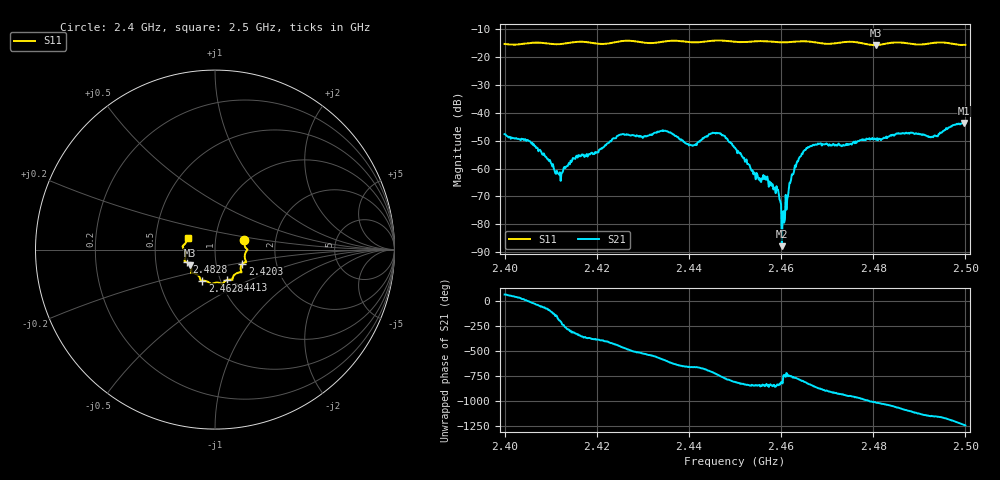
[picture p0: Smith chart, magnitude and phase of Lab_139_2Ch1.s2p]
# Hz S RI R 50
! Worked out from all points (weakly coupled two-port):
!   601 points, 2.4 GHz to 2.5 GHz, reference 50 ohm
!   highest |S21| = -43.67 dB at 2.4997 GHz (marker M1); lowest = -87.8 dB at 2.4602 GHz (marker M2)
!   lowest |S11| = -15.7 dB at 2.4805 GHz (marker M3), VSWR 1.39, Z = 37.4 - j6.67 ohm
!   |S11| at or under -10 dB: start of sweep to end of sweep
!   S12 and S22 are empty: the file has one direction only
!   S11 on the Smith chart (normalised r, x): 2.4 GHz: 1.38, +0.15; 2.4203 GHz: 1.34, -0.22; 2.4413 GHz: 1.08, -0.38; 2.4628 GHz: 0.82, -0.29; 2.4828 GHz: 0.72, -0.10; 2.5 GHz: 0.73, +0.10
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2.4e9  0.1625 0.0525  0.00189 0.00367  0 0  0 0
2.4055e9  0.178 0.00236  0.00302 -0.000585  0 0  0 0
2.411667e9  0.1659 -0.0327  -0.000803 6.29e-05  0 0  0 0
2.416667e9  0.1737 -0.0695  0.00171 0.000119  0 0  0 0
2.420333e9  0.1526 -0.08  0.00171 -0.00092  0 0  0 0
2.425167e9  0.1468 -0.1225  -0.000468 -0.00405  0 0  0 0
2.433333e9  0.1003 -0.1517  -0.00401 0.0022  0 0  0 0
2.441333e9  0.0672 -0.1694  0.00146 0.00222  0 0  0 0
2.446e9  0.042 -0.1925  0.00425 -0.00101  0 0  0 0
2.45e9  0.0247 -0.1853  -2.51e-05 -0.00236  0 0  0 0
2.454e9  -0.011 -0.1888  -0.000493 -0.000614  0 0  0 0
2.459e9  -0.0378 -0.1808  -0.000307 -0.000374  0 0  0 0
2.460167e9  -0.0477 -0.1761  -1.77e-06 -4.06e-05  0 0  0 0
2.460667e9  -0.0526 -0.1748  0.0001 -3.86e-05  0 0  0 0
2.462833e9  -0.0713 -0.1735  0.0006 -0.000686  0 0  0 0
2.466667e9  -0.0812 -0.1673  -0.00141 -0.00209  0 0  0 0
2.4805e9  -0.1382 -0.0869  0.00145 0.00301  0 0  0 0
2.482833e9  -0.1585 -0.0702  0.00286 0.00242  0 0  0 0
2.483333e9  -0.1625 -0.0685  0.00295 0.0023  0 0  0 0
2.492667e9  -0.1764 0.00757  0.00128 -0.00347  0 0  0 0
2.499667e9  -0.1529 0.0592  -0.00615 -0.00227  0 0  0 0
2.5e9  -0.1517 0.064  -0.00627 -0.00156  0 0  0 0
